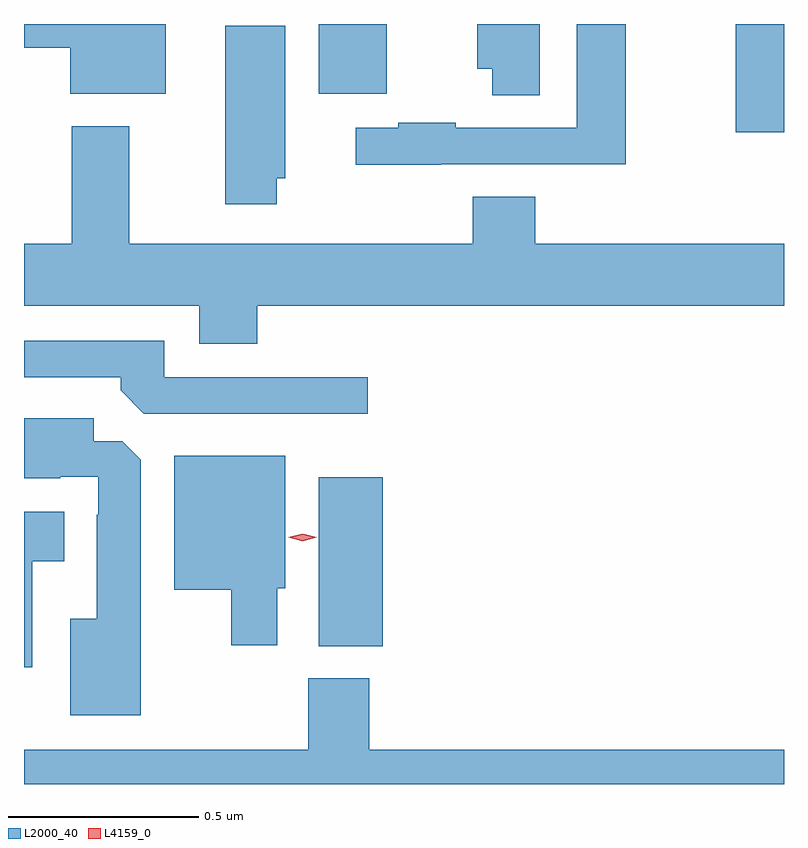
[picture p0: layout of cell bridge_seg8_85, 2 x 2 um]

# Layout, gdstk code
import gdstk
lib = gdstk.Library(unit=1e-6, precision=1e-09)
def R(c, l, rs):  # rectangles x0, y0, x1, y1
    for r in rs: c.add(gdstk.rectangle(r[:2], r[2:], *l))
def P(c, l, *ps):  # polygons
    for p in ps: c.add(gdstk.Polygon(p, *l))
L2000_40 = (2000, 40)
L4159_0 = (4159, 0)

bridge_seg8_85 = lib.new_cell('bridge_seg8_85')
R(bridge_seg8_85, L2000_40, [(805.154,1114.273,805.322,1114.717), (806.251,1115.625,806.378,1115.91), (805.154,1115.726,805.333,1115.91)])
P(bridge_seg8_85, L2000_40, [(805.475,1115.541),(805.962,1115.541),(805.962,1115.91),(805.832,1115.91),(805.832,1115.637),(805.514,1115.637),(805.514,1115.65),(805.363,1115.65),(805.363,1115.637),(805.251,1115.637),(805.251,1115.54),(805.475,1115.54)],
  [(804.751,1115.91),(804.378,1115.91),(804.378,1115.848),(804.5,1115.848),(804.5,1115.726),(804.751,1115.726)],
  [(805.735,1115.91),(805.571,1115.91),(805.571,1115.792),(805.61,1115.792),(805.61,1115.722),(805.735,1115.722)],
  [(805.043,1115.504),(805.066,1115.504),(805.066,1115.905),(804.908,1115.905),(804.908,1115.436),(805.043,1115.436)],
  [(805.559,1115.456),(805.559,1115.332),(804.655,1115.332),(804.655,1115.641),(804.503,1115.641),(804.503,1115.332),(804.378,1115.332),(804.378,1115.168),(804.839,1115.168),(804.839,1115.069),(804.992,1115.069),(804.992,1115.168),(806.378,1115.168),(806.378,1115.332),(805.724,1115.332),(805.724,1115.456)],
  [(805.282,1114.98),(804.747,1114.98),(804.747,1115.076),(804.378,1115.076),(804.378,1114.98),(804.632,1114.98),(804.632,1114.946),(804.693,1114.884),(805.282,1114.884)],
  [(804.685,1114.763),(804.636,1114.812),(804.562,1114.812),(804.562,1114.873),(804.378,1114.873),(804.378,1114.715),(804.473,1114.715),(804.473,1114.719),(804.573,1114.719),(804.573,1114.619),(804.569,1114.619),(804.569,1114.345),(804.5,1114.345),(804.5,1114.091),(804.685,1114.091)],
  [(805.045,1114.425),(805.066,1114.425),(805.066,1114.774),(804.773,1114.774),(804.773,1114.421),(804.923,1114.421),(804.923,1114.275),(805.045,1114.275)],
  [(804.4,1114.496),(804.484,1114.496),(804.484,1114.627),(804.378,1114.627),(804.378,1114.217),(804.4,1114.217)],
  [(806.378,1114),(805.286,1114),(805.286,1114.188),(805.126,1114.188),(805.126,1114),(804.378,1114),(804.378,1113.91),(806.378,1113.91)])
P(bridge_seg8_85, L4159_0, [(805.111,1114.549),(805.073,1114.559),(805.073,1114.559),(805.073,1114.559),(805.111,1114.569),(805.149,1114.559),(805.149,1114.559),(805.149,1114.559)])

lib.write_gds('bridge_seg8_85.gds')
